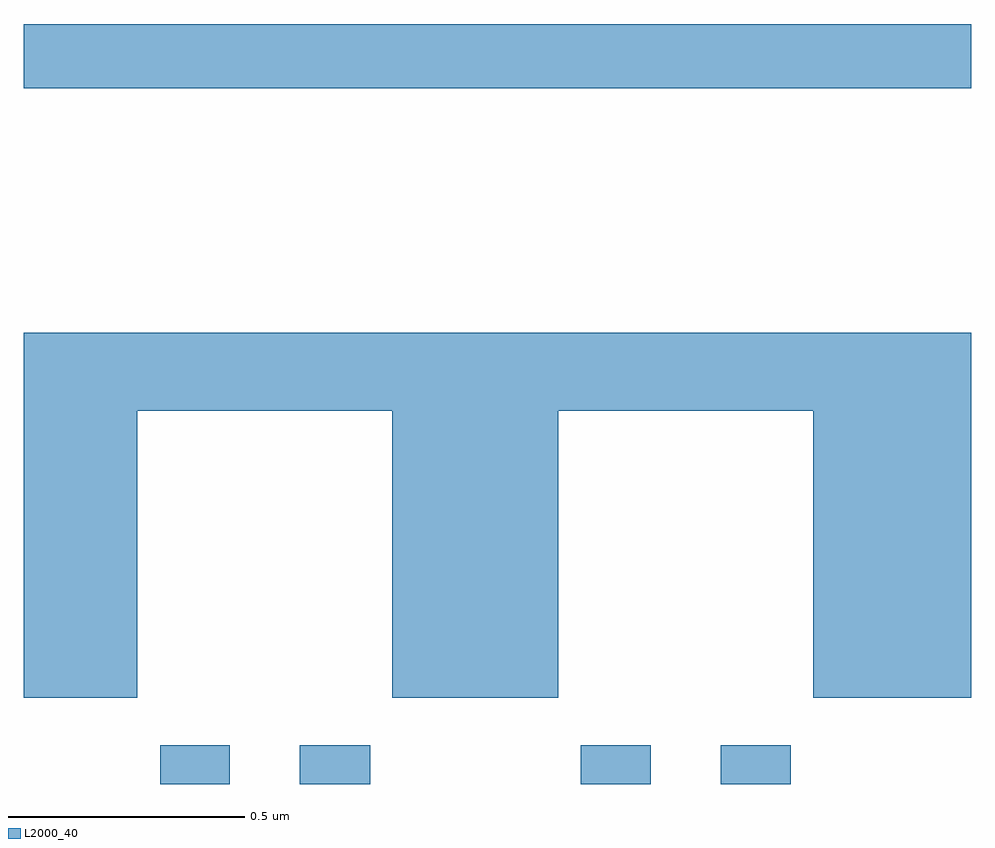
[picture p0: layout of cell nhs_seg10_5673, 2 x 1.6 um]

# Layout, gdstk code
import gdstk
lib = gdstk.Library(unit=1e-6, precision=1e-09)
def R(c, l, rs):  # rectangles x0, y0, x1, y1
    for r in rs: c.add(gdstk.rectangle(r[:2], r[2:], *l))
def P(c, l, *ps):  # polygons
    for p in ps: c.add(gdstk.Polygon(p, *l))
L2000_40 = (2000, 40)

nhs_seg10_5673 = lib.new_cell('nhs_seg10_5673')
R(nhs_seg10_5673, L2000_40, [(181.288,1327.5,181.435,1327.582), (181.583,1327.5,181.731,1327.582), (182.176,1327.5,182.323,1327.582), (182.471,1327.5,182.619,1327.582), (181,1328.968,183,1329.104)])
P(nhs_seg10_5673, L2000_40, [(181.24,1328.288),(181.778,1328.288),(181.778,1327.682),(182.128,1327.682),(182.128,1328.288),(182.666,1328.288),(182.666,1327.682),(183,1327.682),(183,1328.452),(181,1328.452),(181,1327.682),(181.24,1327.682)])

lib.write_gds('nhs_seg10_5673.gds')
